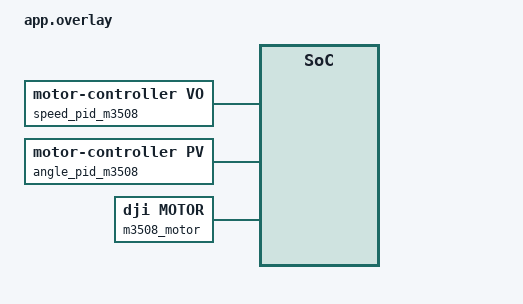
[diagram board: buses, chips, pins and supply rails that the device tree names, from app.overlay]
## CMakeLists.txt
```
cmake_minimum_required(VERSION 3.20.0)

find_package(Zephyr REQUIRED HINTS $ENV{ZEPHYR_BASE})
project(dji_m3508_detent)

target_sources(app PRIVATE src/main.c)
```

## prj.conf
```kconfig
# DJI M3508 棘轮(detent)手感示例配置

# 基础配置
CONFIG_MAIN_THREAD_PRIORITY=7
CONFIG_SYSTEM_WORKQUEUE_STACK_SIZE=2048

# 电机驱动支持
CONFIG_MOTOR=y
CONFIG_MOTOR_DJI=y

# CAN总线支持
CONFIG_CAN=y
CONFIG_CAN_INIT_PRIORITY=80
```

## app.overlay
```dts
// DJI M3508 棘轮(detent)手感示例 - RoboMaster Board C设备树配置
// 注意: m3508_motor 的 id 必须与电机电调指示灯的闪烁次数一致，
// 同时 rx_id = 0x200 + id；id 为 1-4 时 tx_id = 0x200，5-8 时为 0x1FF。

/ {
    // 速度环(内环): 输出为电流/扭矩目标，out_max 限制回弹力度
    speed_pid_m3508: speed_pid_m3508 {
        compatible = "motor-controller,vo";
        target = "speed";
        k_p = "8";
        k_i = "0.5";
        k_d = "0.1";
        out_max = "2";
    };

    // 位置环(外环): out_max 限制回弹速度(rpm)，越小越“软”
    angle_pid_m3508: angle_pid_m3508 {
        compatible = "motor-controller,pv";
        pos_k_p = "10";
        pos_k_i = "0";
        pos_k_d = "2";
        vel_k_p = "8";
        vel_k_i = "0.5";
        vel_k_d = "0.1";
        out_max = "30";
    };

    m3508_motor: m3508_motor {
        compatible = "dji,motor";
        is_m3508;
        id = <1>;
        rx_id = <0x201>;
        tx_id = <0x200>;
        gear_ratio = "19.20";
        status = "okay";
        can_channel = <&can1>;
        // 应当保持外环在前，内环在后
        controllers = <&angle_pid_m3508 &speed_pid_m3508>;
    };
};
```

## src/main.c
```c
/*
 * DJI M3508 棘轮(detent)手感示例
 *
 * 把输出轴 360 度均分为 DETENT_COUNT 个档位。位置环始终把目标设在离当前
 * 位置最近的档位上：拨动轴时位置环产生回弹力，越过两档中点后目标跳到下一档，
 * 形成“咔哒”一下的换档手感。
 *
 * 位置使用 sum_angle（输出轴多圈累计角度，单位度），目标与其处于同一坐标系，
 * 因此跨圈时无需处理角度回绕。
 *
 * Copyright (c) 2024 ttwards
 * SPDX-License-Identifier: Apache-2.0
 */

#include <zephyr/kernel.h>
#include <zephyr/device.h>
#include <zephyr/drivers/motor.h>
#include <zephyr/logging/log.h>
#include <math.h>

LOG_MODULE_REGISTER(dji_m3508_detent, LOG_LEVEL_INF);

#define M3508_NODE DT_NODELABEL(m3508_motor)
static const struct device *m3508_motor = DEVICE_DT_GET(M3508_NODE);

/* 档位数量，输出轴一圈内均分 */
#define DETENT_COUNT 12
#define DETENT_STEP  (360.0f / DETENT_COUNT)
/* 滞回: 越过中点再多走该角度才换档，防止在中点附近来回抖动 */
#define DETENT_HYSTERESIS_DEG 1.5f
#define CONTROL_PERIOD_MS     5
#define LOG_PERIOD_MS         500

int main(void)
{
	motor_status_t status;
	int detent = 0;
	int64_t last_log = 0;

	if (!device_is_ready(m3508_motor)) {
		LOG_ERR("M3508电机设备未就绪");
		return -ENODEV;
	}

	motor_control(m3508_motor, ENABLE_MOTOR);

	/* 等待首帧反馈，以上电位置所在档位作为起点，避免上电瞬间猛拉 */
	while (motor_get(m3508_motor, &status) != 0 || !status.online) {
		k_msleep(10);
	}
	motor_control(m3508_motor, SET_ZERO);
	k_msleep(500);
	if (motor_get(m3508_motor, &status) == 0) {
		detent = (int)roundf(status.sum_angle / DETENT_STEP);
	}
	LOG_INF("棘轮示例: %d 档, 每档 %.2f°", DETENT_COUNT, (double)DETENT_STEP);

	while (1) {
		if (motor_get(m3508_motor, &status) == 0 && status.online) {
			/* 当前位置相对已选档位的偏差(度) */
			float err = status.sum_angle - detent * DETENT_STEP;

			if (err > DETENT_STEP / 2 + DETENT_HYSTERESIS_DEG) {
				detent++;
				LOG_INF("档位 -> %d (%.1f°)", detent,
					(double)(detent * DETENT_STEP));
			} else if (err < -(DETENT_STEP / 2 + DETENT_HYSTERESIS_DEG)) {
				detent--;
				LOG_INF("档位 -> %d (%.1f°)", detent,
					(double)(detent * DETENT_STEP));
			}

			motor_set_angle(m3508_motor, detent * DETENT_STEP);

			if (k_uptime_get() - last_log >= LOG_PERIOD_MS) {
				last_log = k_uptime_get();
				LOG_INF("档位 %d 目标 %.1f° 实际 %.1f° 速度 %.1f rpm", detent,
					(double)(detent * DETENT_STEP), (double)status.sum_angle,
					(double)status.rpm);
			}
		}
		k_msleep(CONTROL_PERIOD_MS);
	}

	return 0;
}
```
